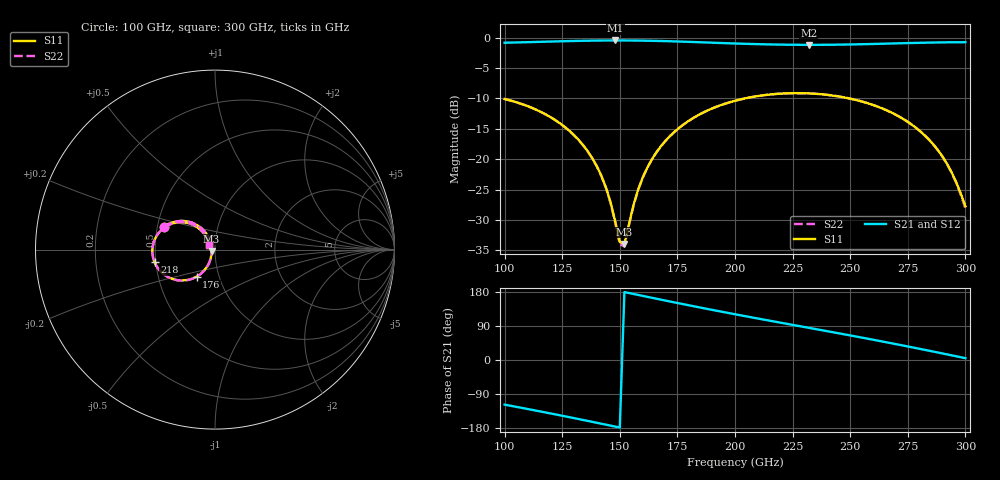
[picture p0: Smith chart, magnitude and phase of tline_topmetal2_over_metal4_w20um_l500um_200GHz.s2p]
#  GHZ S DB R 50
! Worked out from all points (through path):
!   101 points, 100 GHz to 300 GHz, reference 50 ohm
!   highest |S21| = -0.47 dB at 148 GHz (marker M1); lowest = -1.2 dB at 232 GHz (marker M2)
!   group delay of S21, straight-line fit = 3.28 ps
!   lowest |S11| = -34.0 dB at 152 GHz (marker M3), VSWR 1.04, Z = 48.2 - j0.68 ohm
!   |S11| at or under -10 dB: start of sweep to 204.4 GHz; 249.4 GHz to end of sweep
!   |S22| runs from -34.3 to -9.1 dB; largest |S21 - S12| = 1.1e-14
!   S11 on the Smith chart (normalised r, x): 100 GHz: 0.54, +0.15; 176 GHz: 0.78, -0.24; 218 GHz: 0.49, -0.08; 300 GHz: 0.93, +0.04
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100  -10.11 156.3  -0.84 -117.8  -0.84 -117.8  -10.11 156.2
120  -13.11 134.8  -0.65 -141.1  -0.65 -141.1  -13.11 134.6
134  -17.67 121.3  -0.52 -158.2  -0.52 -158.2  -17.69 121.0
142  -22.75 118.2  -0.48 -168.2  -0.48 -168.2  -22.79 117.6
146  -27.13 123.6  -0.47 -173.2  -0.47 -173.2  -27.24 122.7
148  -30.24 133.6  -0.47 -175.7  -0.47 -175.7  -30.44 132.4
150  -33.65 158.4  -0.47 -178.3  -0.47 -178.3  -34.03 157.7
152  -33.97 -159.4  -0.47 179.2  -0.47 179.2  -34.32 -157.9
158  -24.98 -116.1  -0.49 171.6  -0.49 171.6  -25.00 -115.1
162  -21.36 -114.2  -0.51 166.6  -0.51 166.6  -21.36 -113.6
168  -17.81 -117.2  -0.56 159.1  -0.56 159.1  -17.81 -116.8
176  -14.78 -124.4  -0.65 149.2  -0.65 149.2  -14.78 -124.1
200  -10.40 -149.5  -0.97 120.7  -0.97 120.7  -10.39 -149.3
218  -9.27 -168.3  -1.14 100.4  -1.14 100.4  -9.27 -168.2
232  -9.18 177.3  -1.19 84.9  -1.19 84.9  -9.18 177.3
234  -9.22 175.2  -1.19 82.7  -1.19 82.7  -9.22 175.3
252  -10.22 156.8  -1.11 62.6  -1.11 62.6  -10.21 156.7
268  -12.35 140.8  -0.97 44.0  -0.97 44.0  -12.35 140.5
280  -15.29 130.0  -0.86 29.6  -0.86 29.6  -15.30 129.5
288  -18.48 125.2  -0.80 19.8  -0.80 19.8  -18.50 124.4
294  -22.15 126.4  -0.77 12.3  -0.77 12.3  -22.22 125.0
300  -27.76 144.8  -0.76 4.8  -0.76 4.8  -28.09 142.6
